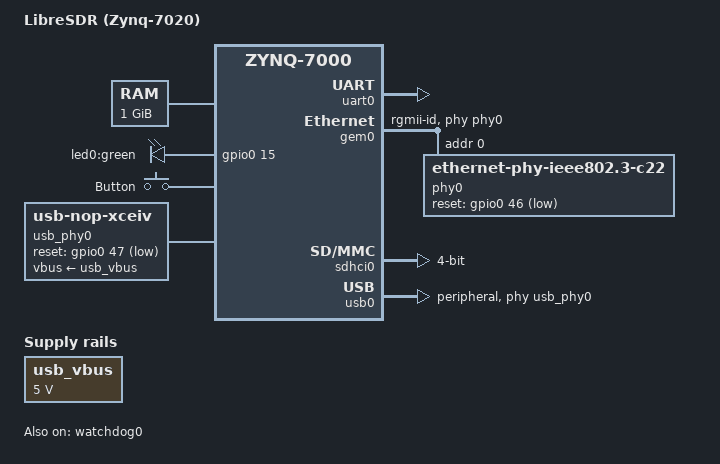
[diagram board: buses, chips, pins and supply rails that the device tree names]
// SPDX-License-Identifier: GPL-2.0
/*
 * LibreSDR (PlutoSDR clone, Zynq-7020, board rev 5)
 * Facts derived from hz12opensource/libresdr patches + ADI hdl system_bd.tcl
 * Radio (AD9364) intentionally omitted: driven from userspace via UIO.
 */
/dts-v1/;
#include "zynq-7000.dtsi"
#include <dt-bindings/gpio/gpio.h>
#include <dt-bindings/input/input.h>
#include <dt-bindings/interrupt-controller/irq.h>

/ {
	model = "LibreSDR (Zynq-7020)";
	compatible = "libresdr,zynq-libresdr", "xlnx,zynq-7000";

	aliases {
		ethernet0 = &gem0;
		serial0 = &uart0;
		mmc0 = &sdhci0;
	};

	memory@0 {
		device_type = "memory";
		reg = <0x0 0x40000000>;/* 1 GB */
	};

	/*
	 * A physically contiguous buffer at a FIXED address for PCAP
	 * configuration readback.
	 *
	 * devcfg's DMA engine takes PHYSICAL addresses, so reading configuration
	 * memory back out of the PL needs a contiguous, word-aligned buffer that
	 * the kernel is not using. Userspace cannot allocate one: an mmap'd page
	 * is virtual, its physical backing is not contiguous beyond a page, and
	 * pointing a DMA engine at a guessed physical address writes frame data
	 * over live kernel memory, which is not a recoverable mistake.
	 *
	 * `no-map` keeps the kernel from mapping it at all, so it is ours alone
	 * and /dev/mem can map it -- the same reasoning already written up for
	 * the SLCR aperture in native/fabric/src/lib.rs (mmap is not subject to
	 * the valid_phys_addr_range() check that makes :file.pread fail with
	 * :efault on non-RAM physical addresses).
	 *
	 * 4 MB, at the top of the 1 GB. Sized so the ENTIRE xc7z020
	 * configuration memory (~4 MB) fits in one transfer rather than only a
	 * single tile -- a whole-device readback is far more useful than a
	 * per-tile one and costs nothing extra here.
	 *
	 * Chosen over a `mem=` kernel argument because bootargs on this board
	 * come from the U-Boot environment in a raw partition, and there is no
	 * fw_setenv on the target; editing that region by hand risks an
	 * unbootable board with no recovery short of a card reader. A DTS node
	 * is declarative, versioned, and reviewable.
	 */
	reserved-memory {
		#address-cells = <1>;
		#size-cells = <1>;
		ranges;

		pcap_readback: pcap-readback@3fc00000 {
			reg = <0x3fc00000 0x00400000>;
			no-map;
		};
	};

	chosen {
		stdout-path = "serial0:115200n8";
	};

	leds {
		compatible = "gpio-leds";
		led0 {
			label = "led0:green";
			gpios = <&gpio0 15 GPIO_ACTIVE_HIGH>;
			linux,default-trigger = "heartbeat";
		};
	};

	gpio-keys {
		compatible = "gpio-keys";
		button {
			label = "Button";
			linux,code = <BTN_MISC>;
			interrupt-parent = <&gpio0>;
			interrupts = <14 IRQ_TYPE_EDGE_FALLING>;
		};
	};
};

&clkc {
	ps-clk-frequency = <50000000>;/* NOT the usual 33.333 MHz */

	/*
	 * Bitmask of FCLKs the clock driver holds enabled. Without this the
	 * driver never takes a reference on fclk0, so the gate is off from the
	 * start -- and clk_ignore_unused does NOT help, because that only
	 * prevents disabling a clock that was already on.
	 *
	 * FCLK_CLK0 clocks the PL's AXI slave. With it gated, an AXI read into
	 * the PL never gets a response and the CPU hangs forever: the Zynq
	 * interconnect has no timeout. A correct bitstream looks completely
	 * dead in exactly this way.
	 */
	fclk-enable = <0xf>;
};

&uart0 {
	status = "okay";
};

&gem0 {
	status = "okay";
	phy-mode = "rgmii-id";
	phy-handle = <&phy0>;

	phy0: ethernet-phy@0 {/* Marvell 88E1512 */
		reg = <0>;
		compatible = "ethernet-phy-ieee802.3-c22";
		reset-gpios = <&gpio0 46 GPIO_ACTIVE_LOW>;
	};
};

&sdhci0 {
	status = "okay";
	broken-cd;   /* xlnx,has-cd = 0 on this board */
	disable-wp;
	bus-width = <4>;
};

&watchdog0 {
	status = "okay";
};

&usb0 {
    status = "okay";
    /*
     * Peripheral, not "otg", and this is load-bearing.
     *
     * In OTG mode ci_hdrc picks its role from ID/VBUS at probe time. With no
     * cable attached at power-up there is nothing to detect, so it never
     * registers a UDC: /sys/class/udc stays empty, usb-gadget-init times out,
     * and the board comes up with no USB console or network. That presents as
     * an intermittent "ci_hdrc won't bind" bug, but it is fully determined by
     * whether the OTG cable happened to be plugged in before power-up.
     *
     * This board is always the device -- it tethers to a PC or phone -- so
     * fixing the role removes the ordering dependency entirely. The tradeoff
     * is no USB host capability on this port.
     */
    dr_mode = "peripheral";
    usb-phy = <&usb_phy0>;
};

/ {
    /*
     * The USB3320 ULPI transceiver is autonomous once out of reset, so mainline
     * models it as a nop xceiv -- exactly as zynq-zed/zc702 do. Do NOT use the
     * Xilinx vendor-tree "ulpi-phy" compatible: nothing in mainline matches it,
     * so no usb_phy ever registers, ci_hdrc.0 sits in EPROBE_DEFER forever and
     * no UDC is created. Likewise "xlnx,phy-reset-gpio" on &usb0 is vendor-only;
     * mainline takes the reset here as reset-gpios. MIO47 is the USB PHY reset
     * (active low); MIO46 is the Ethernet PHY reset.
     */
    /*
     * usb_phy_generic requests its "vbus" regulator with
     * devm_regulator_get_exclusive(), and the regulator core refuses to
     * substitute a dummy for exclusive requests -- it fails probe with
     * "dummy supplies not allowed for exclusive requests (id=vbus)".
     * VBUS here is board-fixed 5V from the OTG connector, so model it as a
     * fixed-regulator rather than leaving the supply unresolved.
     */
    usb_vbus: regulator-usb-vbus {
        compatible = "regulator-fixed";
        regulator-name = "usb-vbus";
        regulator-min-microvolt = <5000000>;
        regulator-max-microvolt = <5000000>;
        regulator-always-on;
    };

    usb_phy0: phy0 {
        compatible = "usb-nop-xceiv";
        #phy-cells = <0>;
        vbus-supply = <&usb_vbus>;
        reset-gpios = <&gpio0 47 GPIO_ACTIVE_LOW>;
    };
};
